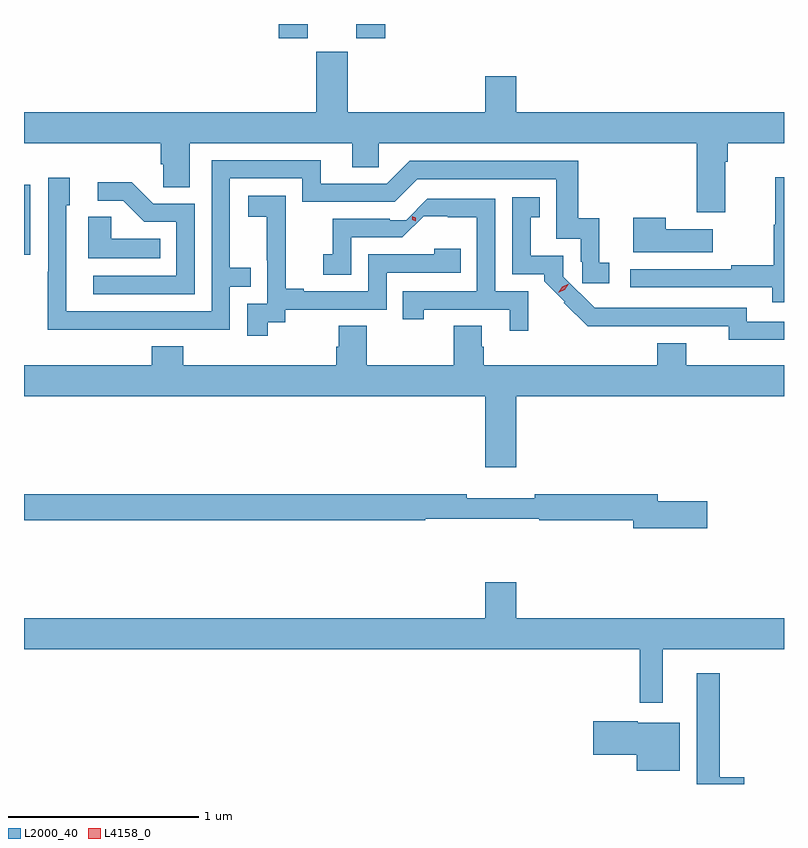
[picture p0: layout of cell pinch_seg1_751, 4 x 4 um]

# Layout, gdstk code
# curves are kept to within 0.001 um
import gdstk
lib = gdstk.Library(unit=1e-6, precision=1e-09)
def R(c, l, rs):  # rectangles x0, y0, x1, y1
    for r in rs: c.add(gdstk.rectangle(r[:2], r[2:], *l))
def P(c, l, *ps):  # polygons
    for p in ps: c.add(gdstk.Polygon(p, *l))
L2000_40 = (2000, 40)
L4158_0 = (4158, 0)

pinch_seg1_751 = lib.new_cell('pinch_seg1_751')
R(pinch_seg1_751, L2000_40, [(845.897,509.853,845.931,510.222), (847.238,510.993,847.39,511.068), (847.646,510.993,847.799,511.068)])
P(pinch_seg1_751, L2000_40, [(849.589,510.344),(849.602,510.344),(849.602,510.44),(849.897,510.44),(849.897,510.604),(848.488,510.604),(848.488,510.793),(848.324,510.793),(848.324,510.604),(847.6,510.604),(847.6,510.921),(847.436,510.921),(847.436,510.604),(845.897,510.604),(845.897,510.44),(846.617,510.44),(846.617,510.331),(846.63,510.331),(846.63,510.208),(846.769,510.208),(846.769,510.44),(847.625,510.44),(847.625,510.313),(847.764,510.313),(847.764,510.44),(849.437,510.44),(849.437,510.078),(849.589,510.078)],
  [(846.485,509.46),(846.981,509.46),(846.981,509.685),(847.091,509.685),(847.091,509.786),(846.981,509.786),(846.981,510.255),(847.362,510.255),(847.362,510.132),(847.848,510.132),(847.968,510.252),(848.697,510.252),(848.697,509.937),(848.826,509.937),(848.826,509.816),(848.834,509.816),(848.834,509.703),(848.977,509.703),(848.977,509.811),(848.924,509.811),(848.924,510.046),(848.813,510.046),(848.813,510.348),(847.926,510.348),(847.806,510.228),(847.459,510.228),(847.459,510.351),(846.885,510.351),(846.885,509.556),(846.12,509.556),(846.12,510.114),(846.139,510.114),(846.139,510.259),(846.024,510.259),(846.024,509.765),(846.022,509.765),(846.022,509.459)],
  [(849.897,510.262),(849.85,510.262),(849.85,510.012),(849.843,510.012),(849.843,509.798),(849.619,509.798),(849.619,509.778),(849.087,509.778),(849.087,509.682),(849.835,509.682),(849.835,509.604),(849.897,509.604)],
  [(846.795,510.123),(846.576,510.123),(846.463,510.236),(846.285,510.236),(846.285,510.138),(846.419,510.138),(846.53,510.027),(846.699,510.027),(846.699,509.742),(846.261,509.742),(846.261,509.646),(846.795,509.646)],
  [(847.18,509.497),(847.272,509.497),(847.272,509.565),(847.806,509.565),(847.806,509.76),(848.195,509.76),(848.195,509.884),(848.055,509.884),(848.055,509.856),(847.71,509.856),(847.71,509.661),(847.369,509.661),(847.369,509.674),(847.274,509.674),(847.274,509.957),(847.275,509.957),(847.275,510.163),(847.077,510.163),(847.077,510.053),(847.175,510.053),(847.175,509.825),(847.176,509.825),(847.176,509.595),(847.071,509.595),(847.071,509.427),(847.18,509.427)],
  [(849.897,509.502),(849.702,509.502),(849.702,509.574),(848.9,509.574),(848.736,509.738),(848.736,509.847),(848.563,509.847),(848.563,510.051),(848.612,510.051),(848.612,510.157),(848.466,510.157),(848.466,509.751),(848.635,509.751),(848.635,509.715),(848.744,509.606),(848.739,509.601),(848.863,509.477),(849.606,509.478),(849.606,509.405),(849.897,509.405)],
  [(848.55,509.661),(848.376,509.661),(848.376,510.147),(848.019,510.147),(847.908,510.036),(847.823,510.036),(847.823,510.042),(847.522,510.042),(847.522,509.857),(847.473,509.857),(847.473,509.748),(847.62,509.748),(847.62,509.946),(847.889,509.946),(848,510.057),(848.128,510.057),(848.128,510.05),(848.28,510.05),(848.28,509.661),(847.891,509.661),(847.891,509.514),(848.002,509.514),(848.002,509.565),(848.453,509.565),(848.453,509.454),(848.55,509.454)],
  [(846.614,509.938),(846.357,509.938),(846.357,510.053),(846.236,510.053),(846.236,509.834),(846.614,509.834)],
  [(849.523,509.989),(849.275,509.989),(849.275,510.049),(849.104,510.049),(849.104,509.867),(849.523,509.867)],
  [(848.488,509.108),(849.897,509.108),(849.897,509.272),(849.382,509.272),(849.382,509.389),(849.23,509.389),(849.23,509.272),(848.318,509.272),(848.318,509.37),(848.305,509.37),(848.305,509.48),(848.158,509.48),(848.158,509.272),(847.701,509.272),(847.701,509.48),(847.553,509.48),(847.553,509.37),(847.541,509.37),(847.541,509.272),(846.734,509.272),(846.734,509.371),(846.569,509.371),(846.569,509.272),(845.897,509.272),(845.897,509.108),(848.324,509.108),(848.324,508.734),(848.488,508.734)],
  [(849.493,508.556),(849.232,508.556),(849.232,508.592),(848.584,508.592),(848.584,508.573),(848.228,508.573),(848.228,508.592),(845.897,508.592),(845.897,508.456),(848.008,508.456),(848.008,508.464),(848.608,508.464),(848.608,508.456),(849.104,508.456),(849.104,508.414),(849.493,508.414)],
  [(849.259,507.776),(849.897,507.776),(849.897,507.94),(848.488,507.94),(848.488,508.129),(848.324,508.129),(848.324,507.94),(845.897,507.94),(845.897,507.776),(849.138,507.776),(849.138,507.495),(849.259,507.495)],
  [(849.688,507.103),(849.559,507.103),(849.559,507.652),(849.437,507.652),(849.437,507.068),(849.688,507.068)],
  [(849.349,507.391),(849.126,507.391),(849.126,507.399),(848.892,507.399),(848.892,507.221),(849.122,507.221),(849.122,507.137),(849.349,507.137)])
P(pinch_seg1_751, L4158_0, [(848.709,509.654),(848.709,509.654),(848.73,509.685),(848.764,509.7),(848.765,509.7),(848.765,509.7),(848.743,509.669),(848.709,509.654)],
  [(847.959,510.029),(847.959,510.029),(847.941,510.037),(847.94,510.057),(847.94,510.057),(847.94,510.057),(847.958,510.049),(847.959,510.029)])

lib.write_gds('pinch_seg1_751.gds')
